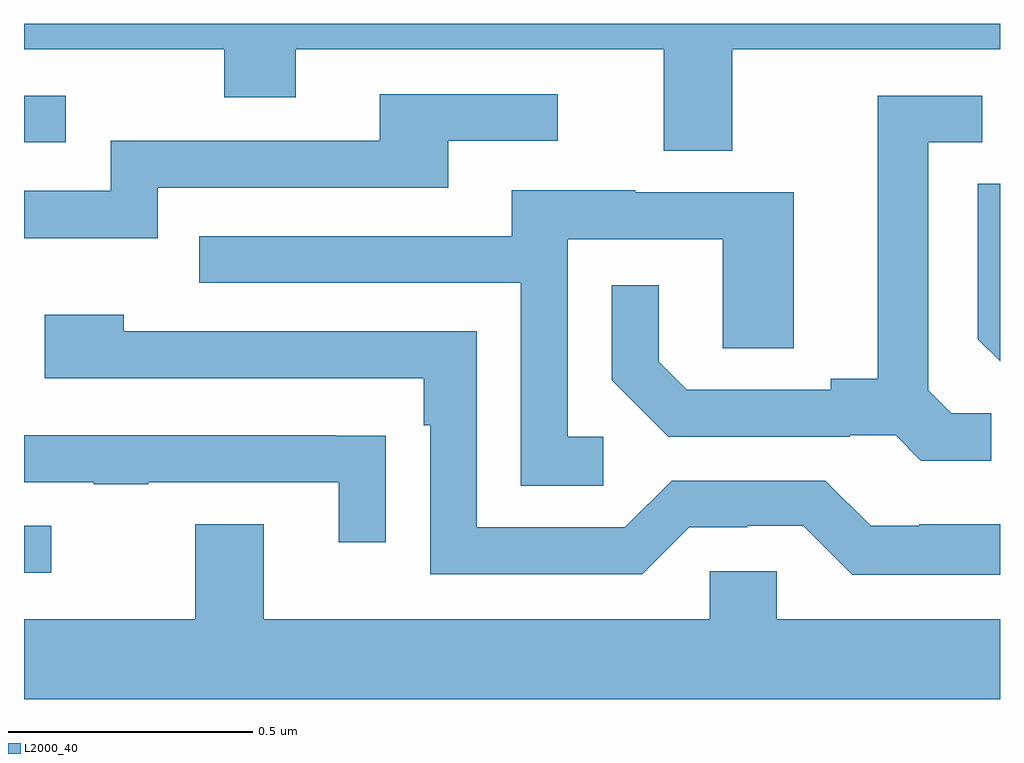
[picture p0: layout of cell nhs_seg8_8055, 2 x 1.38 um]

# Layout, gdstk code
import gdstk
lib = gdstk.Library(unit=1e-6, precision=1e-09)
def R(c, l, rs):  # rectangles x0, y0, x1, y1
    for r in rs: c.add(gdstk.rectangle(r[:2], r[2:], *l))
def P(c, l, *ps):  # polygons
    for p in ps: c.add(gdstk.Polygon(p, *l))
L2000_40 = (2000, 40)

nhs_seg8_8055 = lib.new_cell('nhs_seg8_8055')
R(nhs_seg8_8055, L2000_40, [(218,1100.775,218.056,1100.871), (218,1101.657,218.086,1101.753)])
P(nhs_seg8_8055, L2000_40, [(219.451,1101.848),(220,1101.848),(220,1101.9),(218,1101.9),(218,1101.848),(218.41,1101.848),(218.41,1101.749),(218.557,1101.749),(218.557,1101.848),(219.311,1101.848),(219.311,1101.64),(219.451,1101.64)],
  [(218.274,1101.564),(218.869,1101.564),(218.869,1101.66),(219.094,1101.66),(219.094,1101.756),(218.729,1101.756),(218.729,1101.66),(218.178,1101.66),(218.178,1101.558),(218,1101.558),(218,1101.461),(218.274,1101.461)],
  [(219.982,1101.102),(219.9,1101.102),(219.853,1101.149),(219.853,1101.657),(219.964,1101.657),(219.964,1101.753),(219.749,1101.753),(219.749,1101.173),(219.653,1101.173),(219.653,1101.15),(219.358,1101.15),(219.301,1101.207),(219.301,1101.364),(219.204,1101.364),(219.204,1101.17),(219.32,1101.054),(219.692,1101.054),(219.692,1101.057),(219.786,1101.057),(219.838,1101.005),(219.982,1101.005)],
  [(220,1101.572),(219.954,1101.572),(219.954,1101.254),(220,1101.208)],
  [(219.187,1101.054),(219.114,1101.054),(219.114,1101.459),(219.432,1101.459),(219.432,1101.235),(219.577,1101.235),(219.577,1101.555),(219.253,1101.555),(219.253,1101.559),(218.999,1101.559),(218.999,1101.465),(218.359,1101.465),(218.359,1101.369),(219.018,1101.369),(219.018,1100.953),(219.187,1100.953)],
  [(220,1100.875),(219.835,1100.875),(219.835,1100.871),(219.735,1100.871),(219.642,1100.964),(219.327,1100.964),(219.231,1100.868),(218.928,1100.868),(218.928,1101.27),(218.204,1101.27),(218.204,1101.304),(218.043,1101.304),(218.043,1101.174),(218.819,1101.174),(218.819,1101.077),(218.832,1101.077),(218.832,1100.772),(219.267,1100.772),(219.363,1100.868),(219.482,1100.868),(219.482,1100.871),(219.597,1100.871),(219.697,1100.771),(220,1100.771)],
  [(218.741,1101.056),(218.639,1101.056),(218.639,1101.057),(218,1101.057),(218,1100.961),(218.143,1100.961),(218.143,1100.956),(218.255,1100.956),(218.255,1100.961),(218.645,1100.961),(218.645,1100.838),(218.741,1100.838)],
  [(220,1100.68),(219.543,1100.68),(219.543,1100.778),(219.405,1100.778),(219.405,1100.68),(218.491,1100.68),(218.491,1100.875),(218.351,1100.875),(218.351,1100.68),(218,1100.68),(218,1100.516),(220,1100.516)])

lib.write_gds('nhs_seg8_8055.gds')
